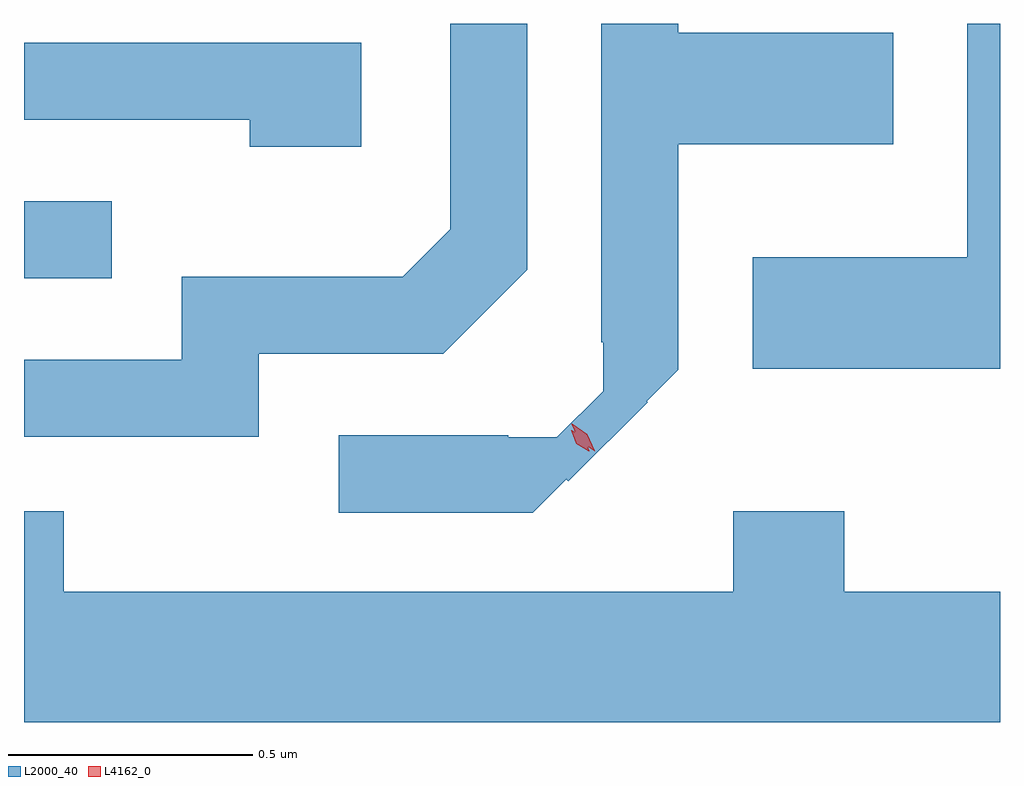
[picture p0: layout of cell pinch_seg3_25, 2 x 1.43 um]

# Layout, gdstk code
import gdstk
lib = gdstk.Library(unit=1e-6, precision=1e-09)
def R(c, l, rs):  # rectangles x0, y0, x1, y1
    for r in rs: c.add(gdstk.rectangle(r[:2], r[2:], *l))
def P(c, l, *ps):  # polygons
    for p in ps: c.add(gdstk.Polygon(p, *l))
L2000_40 = (2000, 40)
L4162_0 = (4162, 0)

pinch_seg3_25 = lib.new_cell('pinch_seg3_25')
R(pinch_seg3_25, L2000_40, [(851.078,1242.366,851.258,1242.524)])
P(pinch_seg3_25, L2000_40, [(851.559,1242.211),(851.937,1242.211),(852.109,1242.384),(852.109,1242.888),(851.951,1242.888),(851.951,1242.467),(851.854,1242.369),(851.401,1242.369),(851.401,1242.199),(851.078,1242.199),(851.078,1242.041),(851.559,1242.041)],
  [(853.078,1242.888),(853.011,1242.888),(853.011,1242.409),(852.571,1242.409),(852.571,1242.181),(853.078,1242.181)],
  [(852.189,1241.954),(852.193,1241.95),(852.356,1242.112),(852.354,1242.114),(852.419,1242.179),(852.419,1242.641),(852.859,1242.641),(852.859,1242.869),(852.419,1242.869),(852.419,1242.888),(852.261,1242.888),(852.261,1242.235),(852.265,1242.235),(852.265,1242.135),(852.17,1242.04),(852.07,1242.04),(852.07,1242.044),(851.723,1242.044),(851.723,1241.886),(852.121,1241.886)],
  [(851.769,1242.849),(851.078,1242.849),(851.078,1242.691),(851.541,1242.691),(851.541,1242.636),(851.769,1242.636)],
  [(853.078,1241.724),(852.759,1241.724),(852.759,1241.889),(852.531,1241.889),(852.531,1241.724),(851.159,1241.724),(851.159,1241.889),(851.078,1241.889),(851.078,1241.456),(853.078,1241.456)])
P(pinch_seg3_25, L4162_0, [(852.248,1242.012),(852.216,1242.033),(852.2,1242.067),(852.2,1242.068),(852.201,1242.068),(852.232,1242.046),(852.248,1242.013),(852.248,1242.012)],
  [(852.235,1242.012),(852.21,1242.027),(852.199,1242.055),(852.199,1242.055),(852.2,1242.055),(852.225,1242.04),(852.236,1242.013),(852.236,1242.012)])

lib.write_gds('pinch_seg3_25.gds')
